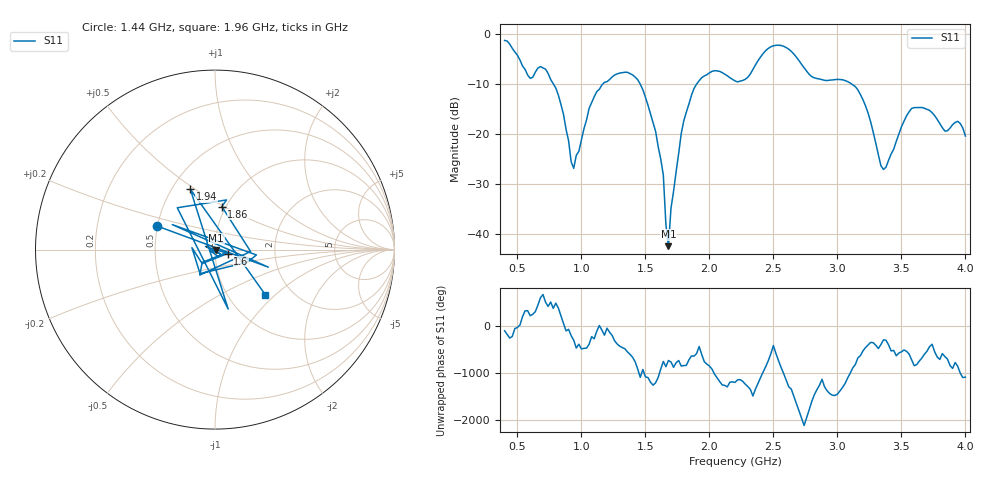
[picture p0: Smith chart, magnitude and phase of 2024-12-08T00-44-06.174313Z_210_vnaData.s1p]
!Created with skrf (http://scikit-rf.org).
# Hz S RI R 50.0
!freq ReS11 ImS11
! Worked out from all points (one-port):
!   181 points, 400 MHz to 4 GHz, reference 50 ohm
!   lowest |S11| = -42.4 dB at 1.68 GHz (marker M1), VSWR 1.02, Z = 50.7 - j0.228 ohm
!   |S11| at or under -10 dB: 779.8 MHz to 1.169 GHz (389.7 MHz wide, 40 % of centre); 1.458 GHz to 1.902 GHz (443.9 MHz wide, 26.4 % of centre); 3.108 GHz to end of sweep
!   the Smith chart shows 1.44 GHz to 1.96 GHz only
!   S11 on the Smith chart (normalised r, x): 1.44 GHz: 0.50, +0.15; 1.6 GHz: 1.15, -0.05; 1.86 GHz: 0.96, +0.49; 1.94 GHz: 0.62, +0.48; 1.96 GHz: 1.48, -0.87
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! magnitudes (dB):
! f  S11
! 400 MHz  -1.4
! 600 MHz  -8.9
! 720 MHz  -7.1
! 860 MHz  -16.1
! 940 MHz  -26.9
! 1.1 GHz  -12.6
! 1.3 GHz  -7.9
! 1.44 GHz  -9.2
! 1.6 GHz  -22.6
! 1.64 GHz  -28.2
! 1.66 GHz  -38.0
! 1.68 GHz  -42.4
! 1.7 GHz  -34.8
! 1.76 GHz  -23.9
! 1.86 GHz  -12.3
! 1.94 GHz  -8.8
! 1.96 GHz  -8.4
! 2.2 GHz  -9.4
! 2.48 GHz  -2.6
! 2.66 GHz  -4.1
! 2.8 GHz  -8.6
! 3.1 GHz  -9.8
! 3.22 GHz  -14.4
! 3.36 GHz  -27.1
! 3.56 GHz  -15.6
! 3.84 GHz  -19.4
! 3.94 GHz  -17.5
! 4 GHz  -20.4
